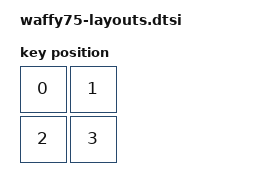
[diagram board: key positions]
// See https://zmk.dev/docs/development/hardware-integration/physical-layouts
// for how to configure this.

#include <physical_layouts.dtsi>

/ {
    default_layout: default_layout {
        compatible = "zmk,physical-layout";
        display-name = "Default Layout";
        transform = <&default_transform>;
        kscan = <&kscan>;

        // Edit this to define the positions and sizes of the keys, or remove it
        // if your keyboard will not support ZMK Studio.
        // https://zmk.dev/docs/development/hardware-integration/physical-layouts#optional-keys-property
        keys  //                     w   h    x    y     rot    rx    ry
            = <&key_physical_attrs 100 100    0    0       0     0     0>
            , <&key_physical_attrs 100 100  100    0       0     0     0>
            , <&key_physical_attrs 100 100    0  100       0     0     0>
            , <&key_physical_attrs 100 100  100  100       0     0     0>
            ;
    };


    pro_micro: connector {
        compatible = "arduino-pro-micro";
        #gpio-cells = <2>;
        gpio-map-mask = <0xffffffff 0xffffffc0>;
        gpio-map-pass-thru = <0 0x3f>;
        gpio-map
            = <0 0 &gpio0 8 0>      /* D0 */
            , <1 0 &gpio0 6 0>      /* D1 */
            , <2 0 &gpio0 15 0>     /* D2 */
            , <3 0 &gpio0 17 0>     /* D3 */
            , <4 0 &gpio0 20 0>     /* D4/A6 */
            , <5 0 &gpio0 13 0>     /* D5 */
            , <6 0 &gpio0 24 0>     /* D6/A7 */
            , <7 0 &gpio0 9 0>      /* D7 */
            , <8 0 &gpio0 10 0>     /* D8/A8 */
            , <9 0 &gpio1 6 0>      /* D9/A9 */
            , <10 0 &gpio1 11 0>    /* D10/A10 */
            , <11 0 &gpio1 10 0>    /* D16 */
            , <12 0 &gpio0 3 0> /* D14 */
            , <13 0 &gpio0 28 0>    /* D15 */
            , <18 0 &gpio0 2 0> /* D18/A0 */
            , <19 0 &gpio0 29 0>    /* D19/A1 */
            , <20 0 &gpio0 31 0>    /* D20/A2 */
            , <21 0 &gpio0 30 0>    /* D21/A3 */
            ;
    };

};
